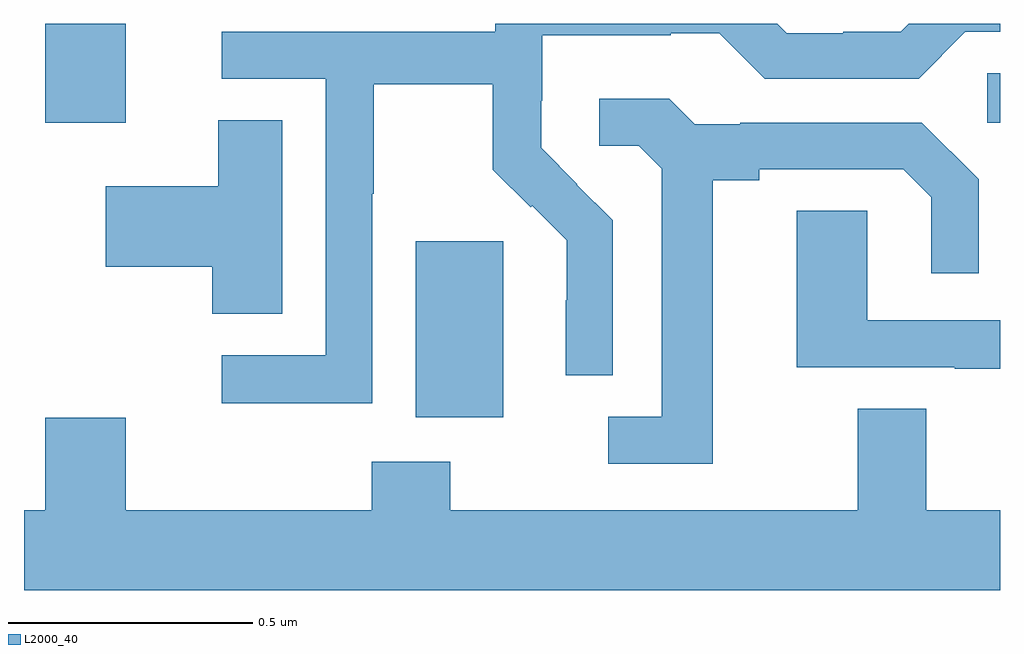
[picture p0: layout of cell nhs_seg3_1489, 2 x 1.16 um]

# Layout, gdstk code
import gdstk
lib = gdstk.Library(unit=1e-6, precision=1e-09)
def R(c, l, rs):  # rectangles x0, y0, x1, y1
    for r in rs: c.add(gdstk.rectangle(r[:2], r[2:], *l))
def P(c, l, *ps):  # polygons
    for p in ps: c.add(gdstk.Polygon(p, *l))
L2000_40 = (2000, 40)

nhs_seg3_1489 = lib.new_cell('nhs_seg3_1489')
R(nhs_seg3_1489, L2000_40, [(129.803,710.594,129.982,710.955), (129.044,711.198,129.208,711.4), (130.974,711.198,131,711.299)])
P(nhs_seg3_1489, L2000_40, [(129.714,711.052),(129.717,711.052),(129.717,711.276),(129.961,711.276),(129.961,711.101),(130.038,711.024),(130.041,711.027),(130.112,710.957),(130.112,710.834),(130.11,710.834),(130.11,710.68),(130.206,710.68),(130.206,710.998),(130.133,711.071),(130.134,711.072),(130.06,711.146),(130.06,711.243),(130.062,711.243),(130.062,711.377),(130.325,711.377),(130.325,711.381),(130.425,711.381),(130.518,711.288),(130.833,711.288),(130.929,711.384),(131,711.384),(131,711.4),(130.813,711.4),(130.797,711.384),(130.679,711.384),(130.679,711.381),(130.563,711.381),(130.544,711.4),(129.966,711.4),(129.966,711.384),(129.405,711.384),(129.405,711.288),(129.618,711.288),(129.618,710.721),(129.405,710.721),(129.405,710.623),(129.714,710.623)],
  [(130.411,711.08),(130.507,711.08),(130.507,711.102),(130.802,711.102),(130.859,711.045),(130.859,710.889),(130.956,710.889),(130.956,711.082),(130.84,711.198),(130.468,711.198),(130.468,711.195),(130.374,711.195),(130.322,711.247),(130.179,711.247),(130.179,711.15),(130.26,711.15),(130.307,711.103),(130.307,710.595),(130.197,710.595),(130.197,710.499),(130.411,710.499)],
  [(129.529,711.203),(129.398,711.203),(129.398,711.067),(129.168,711.067),(129.168,710.902),(129.386,710.902),(129.386,710.806),(129.529,710.806)],
  [(131,710.793),(130.728,710.793),(130.728,711.017),(130.583,711.017),(130.583,710.697),(130.907,710.697),(130.907,710.693),(131,710.693)],
  [(131,710.404),(130.849,710.404),(130.849,710.612),(130.709,710.612),(130.709,710.404),(129.873,710.404),(129.873,710.503),(129.713,710.503),(129.713,710.404),(129.208,710.404),(129.208,710.593),(129.044,710.593),(129.044,710.404),(129,710.404),(129,710.24),(131,710.24)])

lib.write_gds('nhs_seg3_1489.gds')
